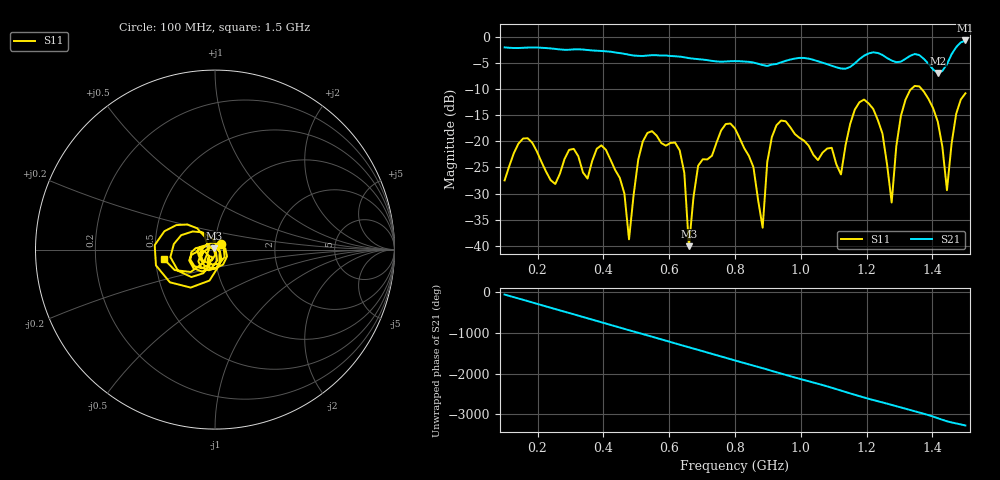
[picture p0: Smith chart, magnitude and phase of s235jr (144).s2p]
! NanoVNA-App
! Date: 2025-09-25 15:05:17
! Start: 100MHz Stop: 1,5GHz Points: 101
! S-Parameter data: F S11 S21 S12 S22
# Hz S RI R 50
!  Frequency  S11_Real  S11_Imag  S21_Real  S21_Imag  S12_Real  S12_Imag  S22_Real  S22_Imag
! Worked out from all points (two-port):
!   101 points, 100 MHz to 1.5 GHz, reference 50 ohm
!   highest |S21| = -0.63 dB at 1.5 GHz (marker M1); lowest = -6.8 dB at 1.416 GHz (marker M2)
!   |S21| within 3 dB of the highest: start of sweep to 609.8 MHz; 1.191 GHz to 1.253 GHz (62.68 MHz wide, 5.13 % of centre)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
!   lowest |S11| = -40.1 dB at 660 MHz (marker M3), VSWR 1.02, Z = 49.3 + j0.651 ohm
!   |S11| at or under -10 dB: start of sweep to 1.335 GHz; 1.368 GHz to end of sweep
!   S12 and S22 are empty: the file has one direction only
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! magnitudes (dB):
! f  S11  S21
! 100 MHz  -27.5  -2.0
! 156 MHz  -19.4  -2.0
! 338 MHz  -25.9  -2.4
! 408 MHz  -21.6  -2.7
! 478 MHz  -38.8  -3.4
! 520 MHz  -20.0  -3.6
! 576 MHz  -20.3  -3.5
! 632 MHz  -21.7  -3.7
! 660 MHz  -40.1  -4.0
! 688 MHz  -24.7  -4.2
! 800 MHz  -17.5  -4.6
! 884 MHz  -36.5  -5.4
! 926 MHz  -16.9  -5.2
! 1.038 GHz  -22.6  -4.3
! 1.122 GHz  -26.3  -6.0
! 1.192 GHz  -12.0  -3.6
! 1.248 GHz  -18.5  -3.4
! 1.276 GHz  -31.7  -4.5
! 1.332 GHz  -10.2  -3.6
! 1.416 GHz  -16.2  -6.8
! 1.444 GHz  -29.4  -5.2
! 1.5 GHz  -10.8  -0.6
